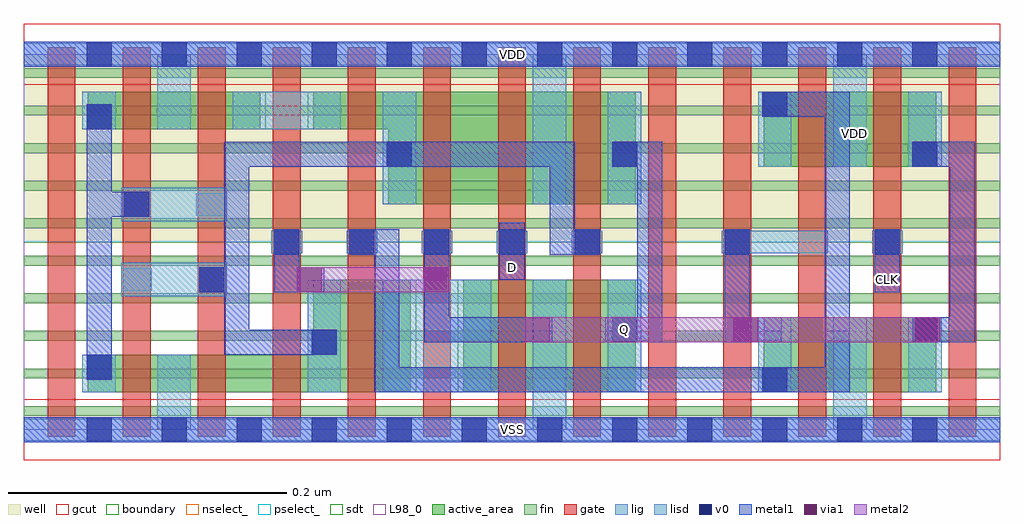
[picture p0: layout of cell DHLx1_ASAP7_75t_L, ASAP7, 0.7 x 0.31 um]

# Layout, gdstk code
import gdstk
lib = gdstk.Library(unit=1e-6, precision=2.5e-10)
def R(c, l, rs):  # rectangles x0, y0, x1, y1
    for r in rs: c.add(gdstk.rectangle(r[:2], r[2:], *l))
def A(c, l, x, y, w, h, nx, ny, dx, dy):  # array of equal rectangles
    R(c, l, [(x+i*dx, y+j*dy, x+i*dx+w, y+j*dy+h) for i in range(nx) for j in range(ny)])
def P(c, l, *ps):  # polygons
    for p in ps: c.add(gdstk.Polygon(p, *l))
well = (1, 0)
fin = (2, 0)
gate = (7, 0)
gcut = (10, 0)
active_area = (11, 0)
nselect_ = (12, 0)
pselect_ = (13, 0)
lig = (16, 0)
lisd = (17, 0)
v0 = (18, 0)
metal1 = (19, 0)
metal2 = (20, 0)
via1 = (21, 0)
sdt = (88, 0)
L98_0 = (98, 0)
boundary = (100, 0)

dhlx1_asap7_75t_l = lib.new_cell('DHLx1_ASAP7_75t_L')
R(dhlx1_asap7_75t_l, well, [(0,0.135,0.702,0.27)])
A(dhlx1_asap7_75t_l, fin, 0, 0.01, 0.702, 0.007, 1, 10, 0, 0.027)
A(dhlx1_asap7_75t_l, gate, 0.017, -0.005, 0.02, 0.28, 13, 1, 0.054, 0)
R(dhlx1_asap7_75t_l, gcut, [(0,-0.022,0.702,0.022), (0,0.248,0.702,0.292)])
R(dhlx1_asap7_75t_l, active_area, [(0.316,0.027,0.44,0.108), (0.532,0.027,0.656,0.081), (0.532,0.189,0.656,0.243), (0.046,0.216,0.17,0.243)])
P(dhlx1_asap7_75t_l, active_area, [(0.046,0.027),(0.046,0.054),(0.208,0.054),(0.208,0.108),(0.278,0.108),(0.278,0.027)],
  [(0.262,0.162),(0.262,0.216),(0.208,0.216),(0.208,0.243),(0.44,0.243),(0.44,0.162)])
R(dhlx1_asap7_75t_l, nselect_, [(0,0,0.702,0.135)])
R(dhlx1_asap7_75t_l, pselect_, [(0,0.135,0.702,0.27)])
A(dhlx1_asap7_75t_l, lig, 0.178, 0.127, 0.022, 0.016, 5, 1, 0.054, 0)
R(dhlx1_asap7_75t_l, lig, [(0,-0.008,0.702,0.008), (0.07,0.1,0.092,0.116), (0.502,0.127,0.578,0.143), (0.61,0.127,0.632,0.143), (0.124,0.154,0.146,0.17), (0,0.262,0.702,0.278)])
R(dhlx1_asap7_75t_l, lisd, [(0.096,0,0.12,0.054), (0.366,0,0.39,0.108), (0.582,0,0.606,0.081), (0.042,0.027,0.066,0.054), (0.204,0.027,0.228,0.108), (0.258,0.027,0.336,0.108), (0.42,0.027,0.444,0.108), (0.528,0.027,0.552,0.081), (0.636,0.027,0.66,0.081), (0.07,0.096,0.146,0.12), (0.07,0.15,0.146,0.174), (0.258,0.162,0.282,0.243), (0.366,0.162,0.39,0.27), (0.42,0.162,0.444,0.243), (0.528,0.189,0.552,0.243), (0.582,0.189,0.606,0.27), (0.636,0.189,0.66,0.243), (0.042,0.216,0.066,0.243), (0.096,0.216,0.12,0.27), (0.15,0.216,0.228,0.243)])
A(dhlx1_asap7_75t_l, v0, 0.045, -0.009, 0.018, 0.018, 12, 2, 0.054, 0.27)
A(dhlx1_asap7_75t_l, v0, 0.18, 0.126, 0.018, 0.018, 5, 1, 0.054, 0)
R(dhlx1_asap7_75t_l, v0, [(0.531,0.027,0.549,0.045), (0.045,0.036,0.063,0.054), (0.207,0.054,0.225,0.072), (0.423,0.063,0.441,0.081), (0.639,0.063,0.657,0.081), (0.126,0.099,0.144,0.117), (0.504,0.126,0.522,0.144), (0.612,0.126,0.63,0.144), (0.072,0.153,0.09,0.171), (0.261,0.189,0.279,0.207), (0.423,0.189,0.441,0.207), (0.639,0.189,0.657,0.207), (0.045,0.216,0.063,0.234), (0.531,0.225,0.549,0.243)])
R(dhlx1_asap7_75t_l, metal1, [(0,-0.009,0.702,0.009), (0.612,0.099,0.63,0.144), (0.342,0.108,0.36,0.149), (0,0.261,0.702,0.279)])
P(dhlx1_asap7_75t_l, metal1, [(0.18,0.099),(0.18,0.144),(0.198,0.144),(0.198,0.117),(0.216,0.117),(0.216,0.099)],
  [(0.639,0.063),(0.639,0.081),(0.666,0.081),(0.666,0.189),(0.639,0.189),(0.639,0.207),(0.684,0.207),(0.684,0.063)],
  [(0.252,0.027),(0.252,0.126),(0.234,0.126),(0.234,0.144),(0.27,0.144),(0.27,0.045),(0.576,0.045),(0.576,0.225),(0.531,0.225),(0.531,0.243),(0.594,0.243),(0.594,0.027)],
  [(0.418,0.063),(0.418,0.081),(0.441,0.081),(0.441,0.189),(0.423,0.189),(0.423,0.207),(0.459,0.207),(0.459,0.063)],
  [(0.144,0.054),(0.144,0.099),(0.126,0.099),(0.126,0.117),(0.144,0.117),(0.144,0.207),(0.396,0.207),(0.396,0.144),(0.414,0.144),(0.414,0.126),(0.378,0.126),(0.378,0.189),(0.162,0.189),(0.162,0.072),(0.225,0.072),(0.225,0.054)],
  [(0.504,0.063),(0.504,0.144),(0.522,0.144),(0.522,0.081),(0.545,0.081),(0.545,0.063)],
  [(0.288,0.063),(0.288,0.144),(0.306,0.144),(0.306,0.081),(0.38,0.081),(0.38,0.063)],
  [(0.045,0.036),(0.045,0.234),(0.063,0.234),(0.063,0.171),(0.09,0.171),(0.09,0.153),(0.063,0.153),(0.063,0.036)])
R(dhlx1_asap7_75t_l, metal2, [(0.36,0.063,0.659,0.081), (0.196,0.099,0.306,0.117)])
R(dhlx1_asap7_75t_l, via1, [(0.36,0.063,0.378,0.081), (0.51,0.063,0.528,0.081), (0.641,0.063,0.659,0.081), (0.196,0.099,0.214,0.117), (0.288,0.099,0.306,0.117)])
A(dhlx1_asap7_75t_l, sdt, 0.204, 0.027, 0.024, 0.081, 5, 1, 0.054, 0)
A(dhlx1_asap7_75t_l, sdt, 0.528, 0.027, 0.024, 0.054, 3, 2, 0.054, 0.162)
A(dhlx1_asap7_75t_l, sdt, 0.042, 0.216, 0.024, 0.027, 4, 1, 0.054, 0)
R(dhlx1_asap7_75t_l, sdt, [(0.042,0.027,0.066,0.054), (0.096,0.027,0.12,0.054), (0.258,0.162,0.282,0.243), (0.366,0.162,0.39,0.243), (0.42,0.162,0.444,0.243)])
R(dhlx1_asap7_75t_l, L98_0, [(0,0,0.702,0.27)])
R(dhlx1_asap7_75t_l, boundary, [(0,0,0.702,0.27)])
dhlx1_asap7_75t_l.add(gdstk.Label('CLK', (0.621,0.108), layer=19, texttype=251))
dhlx1_asap7_75t_l.add(gdstk.Label('D', (0.351,0.117), layer=19, texttype=251))
dhlx1_asap7_75t_l.add(gdstk.Label('Q', (0.432,0.072), layer=19, texttype=251))
dhlx1_asap7_75t_l.add(gdstk.Label('VSS', (0.351,0), layer=19, texttype=251))
dhlx1_asap7_75t_l.add(gdstk.Label('VDD', (0.351,0.27), layer=19, texttype=251))
dhlx1_asap7_75t_l.add(gdstk.Label('VDD', (0.597,0.213), layer=1, texttype=251))
dhlx1_asap7_75t_l.add(gdstk.Label('VSS', (0.807,0.213), layer=3, texttype=251))

lib.write_gds('DHLx1_ASAP7_75t_L.gds')
